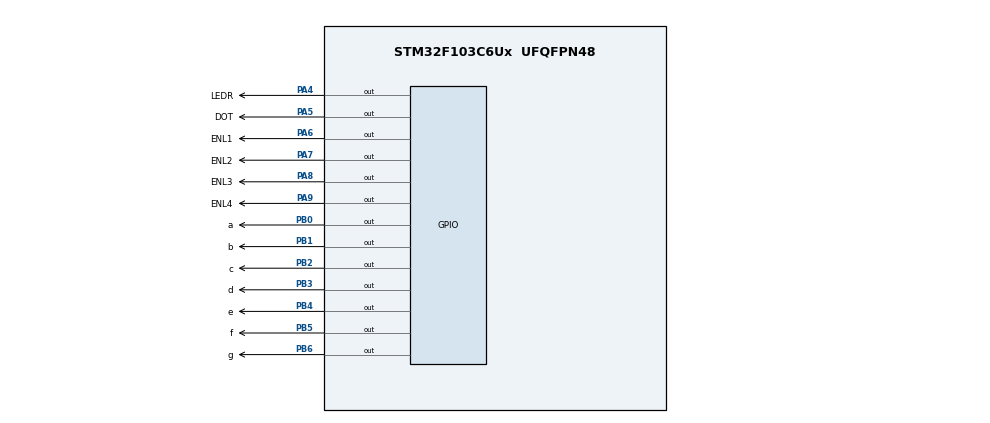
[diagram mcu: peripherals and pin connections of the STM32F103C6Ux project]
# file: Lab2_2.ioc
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Mcu.Family=STM32F1
Mcu.Name=STM32F103C6Ux
Mcu.Package=UFQFPN48
NVIC.PriorityGroup=NVIC_PRIORITYGROUP_4
NVIC.TIM2_IRQn=true\:0\:0\:false\:false\:true\:true\:true\:true
PA4.GPIO_Label=LEDR
PA4.Signal=GPIO_Output
PA5.GPIO_Label=DOT
PA5.Signal=GPIO_Output
PA6.GPIO_Label=ENL1
PA6.Signal=GPIO_Output
PA7.GPIO_Label=ENL2
PA7.Signal=GPIO_Output
PA8.GPIO_Label=ENL3
PA8.Signal=GPIO_Output
PA9.GPIO_Label=ENL4
PA9.Signal=GPIO_Output
PB0.GPIO_Label=a
PB0.Signal=GPIO_Output
PB1.GPIO_Label=b
PB1.Signal=GPIO_Output
PB2.GPIO_Label=c
PB2.Signal=GPIO_Output
PB3.GPIO_Label=d
PB3.Signal=GPIO_Output
PB4.GPIO_Label=e
PB4.Signal=GPIO_Output
PB5.GPIO_Label=f
PB5.Signal=GPIO_Output
PB6.GPIO_Label=g
PB6.Signal=GPIO_Output
ProjectManager.HeapSize=0x200
ProjectManager.StackSize=0x400
ProjectManager.TargetToolchain=STM32CubeIDE
RCC.APB1Freq_Value=8000000
RCC.APB2Freq_Value=8000000
TIM2.Period=9
TIM2.Prescaler=7999
VP_TIM2_VS_ClockSourceINT.Mode=Internal
board=custom

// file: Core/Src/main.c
/* USER CODE BEGIN Header */
/**
  ******************************************************************************
  * @file           : main.c
  * @brief          : Main program body
  ******************************************************************************
  * @attention
  *
  * Copyright (c) 2022 STMicroelectronics.
  * All rights reserved.
  *
  * This software is licensed under terms that can be found in the LICENSE file
  * in the root directory of this software component.
  * If no LICENSE file comes with this software, it is provided AS-IS.
  *
  ******************************************************************************
  */
/* USER CODE END Header */
#include "main.h"

TIM_HandleTypeDef htim2;

void SystemClock_Config(void);
static void MX_GPIO_Init(void);
static void MX_TIM2_Init(void);

int main(void)
{

  /* MCU Configuration--------------------------------------------------------*/

  /* Reset of all peripherals, Initializes the Flash interface and the Systick. */
  HAL_Init();

  /* Configure the system clock */
  SystemClock_Config();

  /* Initialize all configured peripherals */
  MX_GPIO_Init();
  MX_TIM2_Init();
  /* USER CODE BEGIN 2 */
  HAL_TIM_Base_Start_IT(&htim2);
  HAL_GPIO_WritePin(DOT_GPIO_Port, DOT_Pin, 0);
  HAL_GPIO_WritePin(ENL1_GPIO_Port, ENL1_Pin, 1);
  HAL_GPIO_WritePin(ENL2_GPIO_Port, ENL2_Pin, 1);
  HAL_GPIO_WritePin(ENL3_GPIO_Port, ENL3_Pin, 1);
  HAL_GPIO_WritePin(ENL4_GPIO_Port, ENL4_Pin, 1);
  /* USER CODE END 2 */

  /* Infinite loop */
  while (1)
  {

  }
}

void SystemClock_Config(void)
{
  RCC_OscInitTypeDef RCC_OscInitStruct = {0};
  RCC_ClkInitTypeDef RCC_ClkInitStruct = {0};

  /** Initializes the RCC Oscillators according to the specified parameters
  * in the RCC_OscInitTypeDef structure.
  */
  RCC_OscInitStruct.OscillatorType = RCC_OSCILLATORTYPE_HSI;
  RCC_OscInitStruct.HSIState = RCC_HSI_ON;
  RCC_OscInitStruct.HSICalibrationValue = RCC_HSICALIBRATION_DEFAULT;
  RCC_OscInitStruct.PLL.PLLState = RCC_PLL_NONE;
  if (HAL_RCC_OscConfig(&RCC_OscInitStruct) != HAL_OK)
  {
    Error_Handler();
  }

  /** Initializes the CPU, AHB and APB buses clocks
  */
  RCC_ClkInitStruct.ClockType = RCC_CLOCKTYPE_HCLK|RCC_CLOCKTYPE_SYSCLK
                              |RCC_CLOCKTYPE_PCLK1|RCC_CLOCKTYPE_PCLK2;
  RCC_ClkInitStruct.SYSCLKSource = RCC_SYSCLKSOURCE_HSI;
  RCC_ClkInitStruct.AHBCLKDivider = RCC_SYSCLK_DIV1;
  RCC_ClkInitStruct.APB1CLKDivider = RCC_HCLK_DIV1;
  RCC_ClkInitStruct.APB2CLKDivider = RCC_HCLK_DIV1;

  if (HAL_RCC_ClockConfig(&RCC_ClkInitStruct, FLASH_LATENCY_0) != HAL_OK)
  {
    Error_Handler();
  }
}

static void MX_TIM2_Init(void)
{

  TIM_ClockConfigTypeDef sClockSourceConfig = {0};
  TIM_MasterConfigTypeDef sMasterConfig = {0};

  htim2.Instance = TIM2;
  htim2.Init.Prescaler = 7999;
  htim2.Init.CounterMode = TIM_COUNTERMODE_UP;
  htim2.Init.Period = 9;
  htim2.Init.ClockDivision = TIM_CLOCKDIVISION_DIV1;
  htim2.Init.AutoReloadPreload = TIM_AUTORELOAD_PRELOAD_DISABLE;
  if (HAL_TIM_Base_Init(&htim2) != HAL_OK)
  {
    Error_Handler();
  }
  sClockSourceConfig.ClockSource = TIM_CLOCKSOURCE_INTERNAL;
  if (HAL_TIM_ConfigClockSource(&htim2, &sClockSourceConfig) != HAL_OK)
  {
    Error_Handler();
  }
  sMasterConfig.MasterOutputTrigger = TIM_TRGO_RESET;
  sMasterConfig.MasterSlaveMode = TIM_MASTERSLAVEMODE_DISABLE;
  if (HAL_TIMEx_MasterConfigSynchronization(&htim2, &sMasterConfig) != HAL_OK)
  {
    Error_Handler();
  }

}

static void MX_GPIO_Init(void)
{
  GPIO_InitTypeDef GPIO_InitStruct = {0};

  /* GPIO Ports Clock Enable */
  __HAL_RCC_GPIOA_CLK_ENABLE();
  __HAL_RCC_GPIOB_CLK_ENABLE();

  /*Configure GPIO pin Output Level */
  HAL_GPIO_WritePin(GPIOA, LEDR_Pin|DOT_Pin|ENL1_Pin|ENL2_Pin
                          |ENL3_Pin|ENL4_Pin, GPIO_PIN_RESET);

  /*Configure GPIO pin Output Level */
  HAL_GPIO_WritePin(GPIOB, a_Pin|b_Pin|c_Pin|d_Pin
                          |e_Pin|f_Pin|g_Pin, GPIO_PIN_RESET);

  /*Configure GPIO pins : LEDR_Pin DOT_Pin ENL1_Pin ENL2_Pin
                           ENL3_Pin ENL4_Pin */
  GPIO_InitStruct.Pin = LEDR_Pin|DOT_Pin|ENL1_Pin|ENL2_Pin
                          |ENL3_Pin|ENL4_Pin;
  GPIO_InitStruct.Mode = GPIO_MODE_OUTPUT_PP;
  GPIO_InitStruct.Pull = GPIO_NOPULL;
  GPIO_InitStruct.Speed = GPIO_SPEED_FREQ_LOW;
  HAL_GPIO_Init(GPIOA, &GPIO_InitStruct);

  /*Configure GPIO pins : a_Pin b_Pin c_Pin d_Pin
                           e_Pin f_Pin g_Pin */
  GPIO_InitStruct.Pin = a_Pin|b_Pin|c_Pin|d_Pin
                          |e_Pin|f_Pin|g_Pin;
  GPIO_InitStruct.Mode = GPIO_MODE_OUTPUT_PP;
  GPIO_InitStruct.Pull = GPIO_NOPULL;
  GPIO_InitStruct.Speed = GPIO_SPEED_FREQ_LOW;
  HAL_GPIO_Init(GPIOB, &GPIO_InitStruct);

}

/* USER CODE BEGIN 4 */
void display7SEG(int num){
	if (num==1){
		HAL_GPIO_WritePin(a_GPIO_Port, a_Pin, 1);
		HAL_GPIO_WritePin(a_GPIO_Port, b_Pin, 0);
		HAL_GPIO_WritePin(a_GPIO_Port, c_Pin, 0);
		HAL_GPIO_WritePin(a_GPIO_Port, d_Pin, 1);
		HAL_GPIO_WritePin(a_GPIO_Port, e_Pin, 1);
		HAL_GPIO_WritePin(a_GPIO_Port, f_Pin, 1);
		HAL_GPIO_WritePin(a_GPIO_Port, g_Pin, 1);
	}
	else if (num==2){
		HAL_GPIO_WritePin(a_GPIO_Port, a_Pin, 0);
		HAL_GPIO_WritePin(a_GPIO_Port, b_Pin, 0);
		HAL_GPIO_WritePin(a_GPIO_Port, c_Pin, 1);
		HAL_GPIO_WritePin(a_GPIO_Port, d_Pin, 0);
		HAL_GPIO_WritePin(a_GPIO_Port, e_Pin, 0);
		HAL_GPIO_WritePin(a_GPIO_Port, f_Pin, 1);
		HAL_GPIO_WritePin(a_GPIO_Port, g_Pin, 0);
	}
	else if (num==3){
		HAL_GPIO_WritePin(a_GPIO_Port, a_Pin, 0);
		HAL_GPIO_WritePin(a_GPIO_Port, b_Pin, 0);
		HAL_GPIO_WritePin(a_GPIO_Port, c_Pin, 0);
		HAL_GPIO_WritePin(a_GPIO_Port, d_Pin, 0);
		HAL_GPIO_WritePin(a_GPIO_Port, e_Pin, 1);
		HAL_GPIO_WritePin(a_GPIO_Port, f_Pin, 1);
		HAL_GPIO_WritePin(a_GPIO_Port, g_Pin, 0);
	}
	else if (num==0){
		HAL_GPIO_WritePin(a_GPIO_Port, a_Pin, 0);
		HAL_GPIO_WritePin(a_GPIO_Port, b_Pin, 0);
		HAL_GPIO_WritePin(a_GPIO_Port, c_Pin, 0);
		HAL_GPIO_WritePin(a_GPIO_Port, d_Pin, 0);
		HAL_GPIO_WritePin(a_GPIO_Port, e_Pin, 0);
		HAL_GPIO_WritePin(a_GPIO_Port, f_Pin, 0);
		HAL_GPIO_WritePin(a_GPIO_Port, g_Pin, 1 );
	}
}
int counter = 50;
int counter1 = 100;
int counter2 = 10;
int check = 0;
int number = 1;
void HAL_TIM_PeriodElapsedCallback ( TIM_HandleTypeDef * htim )
{
	counter --;
	counter1--;
	if (counter1<=0){
		counter1 = 100;
		check = 1;
		HAL_GPIO_TogglePin(DOT_GPIO_Port, DOT_Pin);
	}
	if (check == 1) counter2--;
	if (counter2 <=0){
		counter2 = 10;
		check = 0;
		HAL_GPIO_TogglePin(DOT_GPIO_Port, DOT_Pin);
	}
	if( counter <= 0) {
		counter = 50;

		HAL_GPIO_TogglePin(LEDR_GPIO_Port, LEDR_Pin);
		if (number == 1) {
			HAL_GPIO_WritePin(ENL1_GPIO_Port, ENL1_Pin, 0);
			HAL_GPIO_WritePin(ENL2_GPIO_Port, ENL2_Pin, 1);
			HAL_GPIO_WritePin(ENL3_GPIO_Port, ENL3_Pin, 1);
			HAL_GPIO_WritePin(ENL4_GPIO_Port, ENL4_Pin, 1);
			display7SEG(number);
			number = 2;
		}
		else if (number == 2){
			HAL_GPIO_WritePin(ENL1_GPIO_Port, ENL1_Pin, 1);
			HAL_GPIO_WritePin(ENL2_GPIO_Port, ENL2_Pin, 0);
			HAL_GPIO_WritePin(ENL3_GPIO_Port, ENL3_Pin, 1);
			HAL_GPIO_WritePin(ENL4_GPIO_Port, ENL4_Pin, 1);
			display7SEG(number);
			number = 3;

		}
		else if (number == 3){
			HAL_GPIO_WritePin(ENL1_GPIO_Port, ENL1_Pin, 1);
			HAL_GPIO_WritePin(ENL2_GPIO_Port, ENL2_Pin, 1);
			HAL_GPIO_WritePin(ENL3_GPIO_Port, ENL3_Pin, 0);
			HAL_GPIO_WritePin(ENL4_GPIO_Port, ENL4_Pin, 1);
			display7SEG(number);
			number = 0;
		}
		else if (number ==0 ){
			HAL_GPIO_WritePin(ENL1_GPIO_Port, ENL1_Pin, 1);
			HAL_GPIO_WritePin(ENL2_GPIO_Port, ENL2_Pin, 1);
			HAL_GPIO_WritePin(ENL3_GPIO_Port, ENL3_Pin, 1);
			HAL_GPIO_WritePin(ENL4_GPIO_Port, ENL4_Pin, 0);
			display7SEG(number);
			number = 1;
		}
	}
}
/* USER CODE END 4 */

void Error_Handler(void)
{
  __disable_irq();
  while (1)
  {
  }
}
